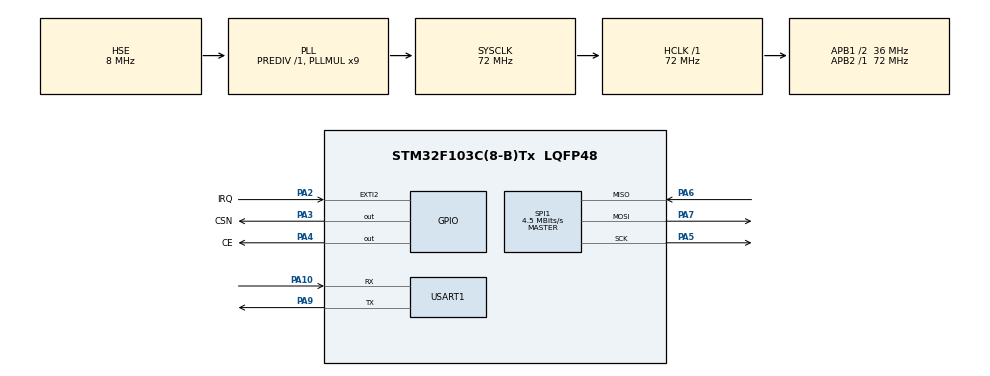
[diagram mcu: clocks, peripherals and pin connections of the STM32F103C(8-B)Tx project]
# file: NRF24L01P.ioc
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Mcu.Family=STM32F1
Mcu.Name=STM32F103C(8-B)Tx
Mcu.Package=LQFP48
NVIC.EXTI2_IRQn=true\:0\:0\:false\:false\:true\:true\:true\:true
NVIC.PriorityGroup=NVIC_PRIORITYGROUP_4
NVIC.USART1_IRQn=true\:0\:0\:false\:false\:true\:true\:true\:true
PA10.Mode=Asynchronous
PA10.Signal=USART1_RX
PA13.Mode=Serial_Wire
PA13.Signal=SYS_JTMS-SWDIO
PA14.Mode=Serial_Wire
PA14.Signal=SYS_JTCK-SWCLK
PA2.GPIO_Label=IRQ
PA2.GPIO_ModeDefaultEXTI=GPIO_MODE_IT_FALLING
PA2.Signal=GPXTI2
PA3.GPIO_Label=CSN
PA3.GPIO_PuPd=GPIO_PULLUP
PA3.GPIO_Speed=GPIO_SPEED_FREQ_HIGH
PA3.PinState=GPIO_PIN_SET
PA3.Signal=GPIO_Output
PA4.GPIO_Label=CE
PA4.GPIO_PuPd=GPIO_PULLDOWN
PA4.GPIO_Speed=GPIO_SPEED_FREQ_HIGH
PA4.Signal=GPIO_Output
PA5.Mode=Full_Duplex_Master
PA5.Signal=SPI1_SCK
PA6.Mode=Full_Duplex_Master
PA6.Signal=SPI1_MISO
PA7.Mode=Full_Duplex_Master
PA7.Signal=SPI1_MOSI
PA9.Mode=Asynchronous
PA9.Signal=USART1_TX
PD0-OSC_IN.Mode=HSE-External-Oscillator
PD0-OSC_IN.Signal=RCC_OSC_IN
PD1-OSC_OUT.Mode=HSE-External-Oscillator
PD1-OSC_OUT.Signal=RCC_OSC_OUT
ProjectManager.HeapSize=0x200
ProjectManager.StackSize=0x400
ProjectManager.TargetToolchain=STM32CubeIDE
RCC.AHBFreq_Value=72000000
RCC.APB1CLKDivider=RCC_HCLK_DIV2
RCC.APB1Freq_Value=36000000
RCC.APB1TimFreq_Value=72000000
RCC.APB2Freq_Value=72000000
RCC.APB2TimFreq_Value=72000000
RCC.HCLKFreq_Value=72000000
RCC.PLLMUL=RCC_PLL_MUL9
RCC.PLLSourceVirtual=RCC_PLLSOURCE_HSE
RCC.SYSCLKFreq_VALUE=72000000
RCC.SYSCLKSource=RCC_SYSCLKSOURCE_PLLCLK
RCC.USBFreq_Value=72000000
SPI1.BaudRatePrescaler=SPI_BAUDRATEPRESCALER_16
SPI1.CalculateBaudRate=4.5 MBits/s
SPI1.Direction=SPI_DIRECTION_2LINES
SPI1.Mode=SPI_MODE_MASTER
SPI1.VirtualType=VM_MASTER
USART1.VirtualMode=VM_ASYNC
board=custom

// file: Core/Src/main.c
/* USER CODE BEGIN Header */
/**
  ******************************************************************************
  * @file           : main.c
  * @brief          : Main program body
  ******************************************************************************
  * @attention
  *
  * Copyright (c) 2023 STMicroelectronics.
  * All rights reserved.
  *
  * This software is licensed under terms that can be found in the LICENSE file
  * in the root directory of this software component.
  * If no LICENSE file comes with this software, it is provided AS-IS.
  *
  ******************************************************************************
  */
/* USER CODE END Header */
#include "main.h"

/* USER CODE BEGIN Includes */
#include "nrf24l01p.h"
#include "uart.h"
/* USER CODE END Includes */

/* USER CODE BEGIN PD */
#define TRANSMITTER
//#define RECEIVER
/* USER CODE END PD */

SPI_HandleTypeDef hspi1;

UART_HandleTypeDef huart1;

/* USER CODE BEGIN PV */
uint8_t nrf24l01p_rx_flag = 0;
extern ring_buffer_t uart_rx;

//uint8_t address[5]={0xE7,0xE7,0xE7,0xE7,0xE7};

uint8_t address[6]="12345";

uint8_t rx_data[NRF24L01P_PAYLOAD_LENGTH] = { 0 };
uint8_t tx_data[NRF24L01P_PAYLOAD_LENGTH] = { 0 };
/* USER CODE END PV */

void SystemClock_Config(void);
static void MX_GPIO_Init(void);
static void MX_SPI1_Init(void);
static void MX_USART1_UART_Init(void);
/* USER CODE BEGIN PFP */
void HAL_GPIO_EXTI_Callback(uint16_t GPIO_Pin);
/* USER CODE END PFP */

int main(void)
{

  /* MCU Configuration--------------------------------------------------------*/

  /* Reset of all peripherals, Initializes the Flash interface and the Systick. */
  HAL_Init();

  /* Configure the system clock */
  SystemClock_Config();

  /* Initialize all configured peripherals */
  MX_GPIO_Init();
  MX_SPI1_Init();
  MX_USART1_UART_Init();
  /* USER CODE BEGIN 2 */
#ifdef RECEIVER

  nrf24l01p_rx_init(2500, _1Mbps,address);

  	#endif

#ifdef TRANSMITTER
	rxBufferInit(&uart_rx);

	/* Enable the UART Error Interrupt: (Frame error, noise error, overrun error) */
	__HAL_UART_ENABLE_IT(&huart1, UART_IT_ERR);

	/* Enable the UART Data Register not empty Interrupt */
	__HAL_UART_ENABLE_IT(&huart1, UART_IT_RXNE);

	nrf24l01p_tx_init(2500, _1Mbps,address);

	//write_register_multi(NRF24L01P_REG_RX_ADDR_P0,tx_address);

#endif
  /* USER CODE END 2 */

  /* Infinite loop */
  while (1)
  {

    /* USER CODE BEGIN 3 */
#ifdef RECEIVER
	  // Nothing to do
	  if(nrf24l01p_rx_flag==1){
		 nrf24l01p_rx_flag=0;
	  HAL_UART_Transmit(&huart1, rx_data, sizeof(rx_data), 500);
	  memset(rx_data,0,sizeof(rx_data));

	  }
#endif

#ifdef TRANSMITTER

		memset(tx_data, 0, sizeof(tx_data));

		int num = uart_available(&uart_rx);
		int i;
		if (num) {
			for (i = 0; i < num; i++) {

				int ch = pop(&uart_rx);
				if (ch != -1) {
					tx_data[i] = ch;
				}
			}
			HAL_UART_Transmit(&huart1, tx_data, sizeof(tx_data), 500);
			nrf24l01p_tx_transmit(tx_data);
		}

#endif

		HAL_Delay(100);

  }
  /* USER CODE END 3 */
}

void SystemClock_Config(void)
{
  RCC_OscInitTypeDef RCC_OscInitStruct = {0};
  RCC_ClkInitTypeDef RCC_ClkInitStruct = {0};

  /** Initializes the RCC Oscillators according to the specified parameters
  * in the RCC_OscInitTypeDef structure.
  */
  RCC_OscInitStruct.OscillatorType = RCC_OSCILLATORTYPE_HSE;
  RCC_OscInitStruct.HSEState = RCC_HSE_ON;
  RCC_OscInitStruct.HSEPredivValue = RCC_HSE_PREDIV_DIV1;
  RCC_OscInitStruct.HSIState = RCC_HSI_ON;
  RCC_OscInitStruct.PLL.PLLState = RCC_PLL_ON;
  RCC_OscInitStruct.PLL.PLLSource = RCC_PLLSOURCE_HSE;
  RCC_OscInitStruct.PLL.PLLMUL = RCC_PLL_MUL9;
  if (HAL_RCC_OscConfig(&RCC_OscInitStruct) != HAL_OK)
  {
    Error_Handler();
  }

  /** Initializes the CPU, AHB and APB buses clocks
  */
  RCC_ClkInitStruct.ClockType = RCC_CLOCKTYPE_HCLK|RCC_CLOCKTYPE_SYSCLK
                              |RCC_CLOCKTYPE_PCLK1|RCC_CLOCKTYPE_PCLK2;
  RCC_ClkInitStruct.SYSCLKSource = RCC_SYSCLKSOURCE_PLLCLK;
  RCC_ClkInitStruct.AHBCLKDivider = RCC_SYSCLK_DIV1;
  RCC_ClkInitStruct.APB1CLKDivider = RCC_HCLK_DIV2;
  RCC_ClkInitStruct.APB2CLKDivider = RCC_HCLK_DIV1;

  if (HAL_RCC_ClockConfig(&RCC_ClkInitStruct, FLASH_LATENCY_2) != HAL_OK)
  {
    Error_Handler();
  }
}

static void MX_SPI1_Init(void)
{

  /* SPI1 parameter configuration*/
  hspi1.Instance = SPI1;
  hspi1.Init.Mode = SPI_MODE_MASTER;
  hspi1.Init.Direction = SPI_DIRECTION_2LINES;
  hspi1.Init.DataSize = SPI_DATASIZE_8BIT;
  hspi1.Init.CLKPolarity = SPI_POLARITY_LOW;
  hspi1.Init.CLKPhase = SPI_PHASE_1EDGE;
  hspi1.Init.NSS = SPI_NSS_SOFT;
  hspi1.Init.BaudRatePrescaler = SPI_BAUDRATEPRESCALER_16;
  hspi1.Init.FirstBit = SPI_FIRSTBIT_MSB;
  hspi1.Init.TIMode = SPI_TIMODE_DISABLE;
  hspi1.Init.CRCCalculation = SPI_CRCCALCULATION_DISABLE;
  hspi1.Init.CRCPolynomial = 10;
  if (HAL_SPI_Init(&hspi1) != HAL_OK)
  {
    Error_Handler();
  }

}

static void MX_USART1_UART_Init(void)
{

  huart1.Instance = USART1;
  huart1.Init.BaudRate = 115200;
  huart1.Init.WordLength = UART_WORDLENGTH_8B;
  huart1.Init.StopBits = UART_STOPBITS_1;
  huart1.Init.Parity = UART_PARITY_NONE;
  huart1.Init.Mode = UART_MODE_TX_RX;
  huart1.Init.HwFlowCtl = UART_HWCONTROL_NONE;
  huart1.Init.OverSampling = UART_OVERSAMPLING_16;
  if (HAL_UART_Init(&huart1) != HAL_OK)
  {
    Error_Handler();
  }

}

static void MX_GPIO_Init(void)
{
  GPIO_InitTypeDef GPIO_InitStruct = {0};

  /* GPIO Ports Clock Enable */
  __HAL_RCC_GPIOD_CLK_ENABLE();
  __HAL_RCC_GPIOA_CLK_ENABLE();

  /*Configure GPIO pin Output Level */
  HAL_GPIO_WritePin(CSN_GPIO_Port, CSN_Pin, GPIO_PIN_SET);

  /*Configure GPIO pin Output Level */
  HAL_GPIO_WritePin(CE_GPIO_Port, CE_Pin, GPIO_PIN_RESET);

  /*Configure GPIO pin : IRQ_Pin */
  GPIO_InitStruct.Pin = IRQ_Pin;
  GPIO_InitStruct.Mode = GPIO_MODE_IT_FALLING;
  GPIO_InitStruct.Pull = GPIO_NOPULL;
  HAL_GPIO_Init(IRQ_GPIO_Port, &GPIO_InitStruct);

  /*Configure GPIO pin : CSN_Pin */
  GPIO_InitStruct.Pin = CSN_Pin;
  GPIO_InitStruct.Mode = GPIO_MODE_OUTPUT_PP;
  GPIO_InitStruct.Pull = GPIO_PULLUP;
  GPIO_InitStruct.Speed = GPIO_SPEED_FREQ_HIGH;
  HAL_GPIO_Init(CSN_GPIO_Port, &GPIO_InitStruct);

  /*Configure GPIO pin : CE_Pin */
  GPIO_InitStruct.Pin = CE_Pin;
  GPIO_InitStruct.Mode = GPIO_MODE_OUTPUT_PP;
  GPIO_InitStruct.Pull = GPIO_PULLDOWN;
  GPIO_InitStruct.Speed = GPIO_SPEED_FREQ_HIGH;
  HAL_GPIO_Init(CE_GPIO_Port, &GPIO_InitStruct);

  /* EXTI interrupt init*/
  HAL_NVIC_SetPriority(EXTI2_IRQn, 0, 0);
  HAL_NVIC_EnableIRQ(EXTI2_IRQn);

}

/* USER CODE BEGIN 4 */
void HAL_GPIO_EXTI_Callback(uint16_t GPIO_Pin) {
	if (GPIO_Pin == NRF24L01P_IRQ_PIN_NUMBER) {
#ifdef RECEIVER
		nrf24l01p_rx_flag=1;
	    nrf24l01p_rx_receive(rx_data);
#endif

#ifdef TRANSMITTER
		nrf24l01p_tx_irq();
#endif
	}

}
/* USER CODE END 4 */

void Error_Handler(void)
{
  __disable_irq();
  while (1)
  {
  }
}
